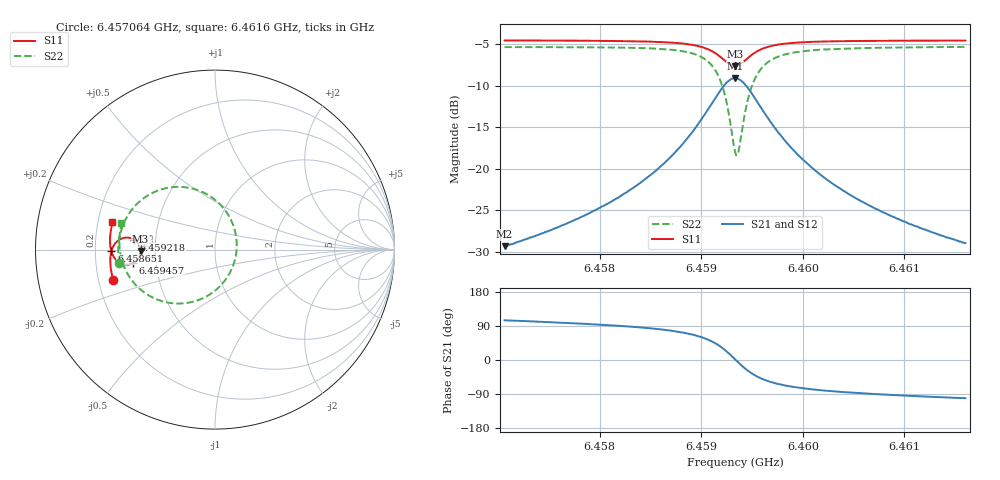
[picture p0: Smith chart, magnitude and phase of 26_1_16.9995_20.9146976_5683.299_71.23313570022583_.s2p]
#  HZ  S  RI  R  50.00
! Rohde & Schwarz Vector Network Analyzer
! Rohde-Schwarz,ZNB20-2Port,1311601062101988,3.16
! Created: UTC 3/20/2024, 10:53:11 PM
! freq[Hz]  re:S11  im:S11  re:S21  im:S21  re:S12  im:S12  re:S22  im:S22
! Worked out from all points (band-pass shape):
!   401 points, 6.457064 GHz to 6.4616 GHz, reference 50 ohm
!   highest |S21| = -9.10 dB at 6.459332 GHz (marker M1); lowest = -29.3 dB at 6.457064 GHz (marker M2)
!   |S21| within 3 dB of the highest: 6.459106 GHz to 6.459559 GHz (453 kHz wide, 0.00701 % of centre)
!   lowest |S11| = -7.6 dB at 6.459332 GHz (marker M3), VSWR 2.42, Z = 20.7 - j0.409 ohm
!   |S11| at or under -10 dB: nowhere
!   |S22| runs from -18.4 to -5.3 dB; largest |S21 - S12| = 0.014
!   S11 on the Smith chart (normalised r, x): 6.457064 GHz: 0.26, -0.13; 6.458651 GHz: 0.27, -0.01; 6.459218 GHz: 0.38, +0.05; 6.459457 GHz: 0.37, -0.07; 6.4616 GHz: 0.26, +0.12
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6.4570639e9  -0.5679 -0.1671  -0.00872 0.0331  -0.00688 0.0329  -0.5346 -0.0767
6.4578236e9  -0.5811 -0.1003  -0.00511 0.0511  -0.0025 0.0505  -0.5387 0.0132
6.4582546e9  -0.5836 -0.0567  0.00137 0.0715  0.00454 0.0701  -0.529 0.0826
6.4585834e9  -0.5794 -0.0169  0.0153 0.1001  0.0193 0.097  -0.503 0.1583
6.4586515e9  -0.5771 -0.00742  0.0207 0.1083  0.0247 0.1052  -0.4926 0.1783
6.4588442e9  -0.5642 0.023  0.0478 0.1397  0.0517 0.1346  -0.4417 0.2474
6.4589916e9  -0.5411 0.0494  0.0938 0.1701  0.0968 0.1634  -0.3569 0.3118
6.4591277e9  -0.4966 0.0668  0.1821 0.1866  0.1829 0.1792  -0.1953 0.3494
6.4592184e9  -0.4514 0.0561  0.2732 0.1544  0.2733 0.1487  -0.027 0.2971
6.4592865e9  -0.4217 0.0234  0.3344 0.0812  0.3365 0.0761  0.0895 0.1648
6.4593318e9  -0.4148 -0.00819  0.3506 0.0122  0.3546 0.00536  0.1213 0.0357
6.4593659e9  -0.4188 -0.0324  0.3446 -0.0412  0.3487 -0.0503  0.1087 -0.0654
6.4594112e9  -0.4347 -0.0591  0.3152 -0.102  0.3176 -0.1139  0.0491 -0.1801
6.4594566e9  -0.4573 -0.0757  0.2719 -0.1434  0.2713 -0.1568  -0.0382 -0.2555
6.4595473e9  -0.5014 -0.0827  0.1855 -0.1744  0.1795 -0.1861  -0.2103 -0.3006
6.4596153e9  -0.5261 -0.0753  0.1365 -0.1721  0.1284 -0.1811  -0.3049 -0.2844
6.4596947e9  -0.546 -0.062  0.0966 -0.1597  0.0879 -0.1658  -0.3798 -0.2487
6.4598535e9  -0.5678 -0.0342  0.0513 -0.1308  0.0434 -0.1336  -0.4604 -0.1749
6.4600916e9  -0.5807 0.00136  0.022 -0.0987  0.016 -0.0993  -0.5082 -0.0914
6.4604431e9  -0.5851 0.0435  0.00563 -0.0707  0.00148 -0.0701  -0.5295 -0.00962
6.4608514e9  -0.5832 0.0846  -0.0017 -0.0526  -0.00457 -0.0517  -0.5328 0.0566
6.4615998e9  -0.5713 0.1511  -0.00674 -0.035  -0.0085 -0.0341  -0.5213 0.1456
